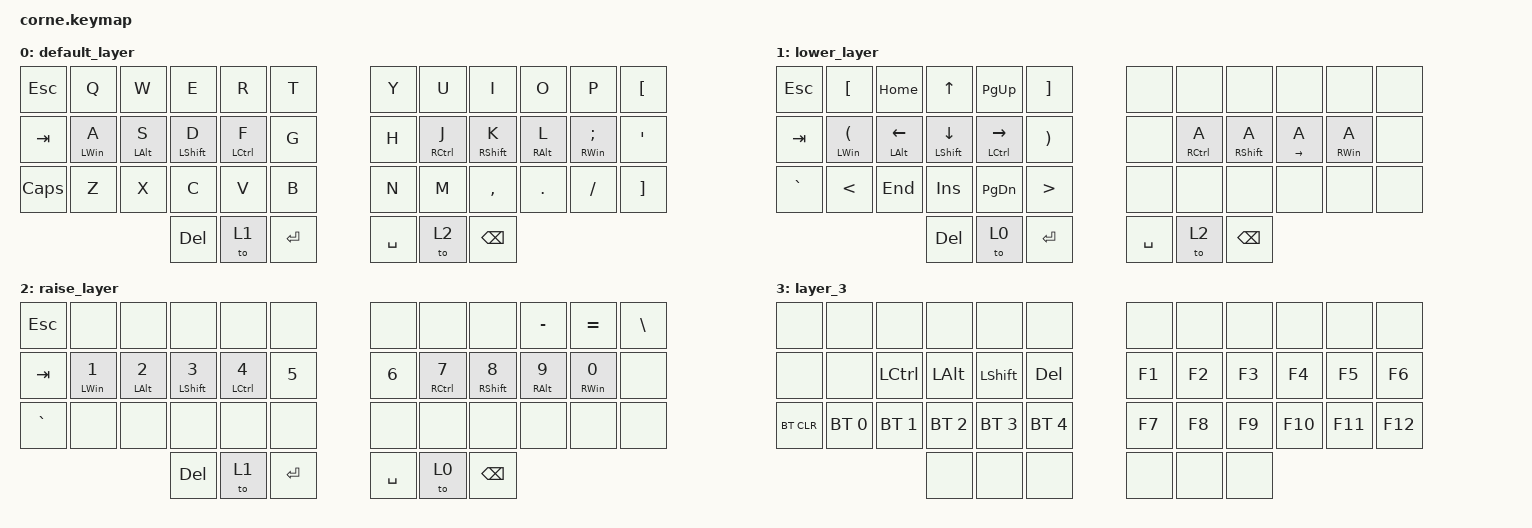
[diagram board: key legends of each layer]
/*
 * Copyright (c) 2020 The ZMK Contributors
 *
 * SPDX-License-Identifier: MIT
 */

#include <behaviors.dtsi>
#include <dt-bindings/zmk/bt.h>
#include <dt-bindings/zmk/keys.h>

/ {
    combos {
        compatible = "zmk,combos";

        toch {
            bindings = <&kp KP_N1>;
            key-positions = <16 19>;
        };

        lay3 {
            bindings = <&to 3>;
            key-positions = <10 11>;
        };

        dot {
            bindings = <&kp KP_N2>;
            key-positions = <15 20>;
        };

        ques {
            bindings = <&kp KP_N3>;
            key-positions = <14 21>;
        };

        altshift {
            bindings = <&kp LA(LEFT_SHIFT)>;
            key-positions = <38 39>;
        };
    };

    behaviors {
        ss_hs_modmorph: ss_hs_modmorph {
            compatible = "zmk,behavior-mod-morph";
            label = "SS_HS_MODMORPH";
            bindings = <&kp M>, <&kp RIGHT_BRACKET>;

            #binding-cells = <0>;
            mods = <(MOD_LSFT|MOD_RSFT)>;
        };

        kh_hs_tapdance: kh_hs_tapdance {
            compatible = "zmk,behavior-tap-dance";
            label = "KH_HS_TAPDANCE";
            #binding-cells = <0>;
            tapping-term-ms = <200>;
            bindings = <&kp LEFT_BRACKET>, <&kp RIGHT_BRACKET>;
        };

        hrm: hrm {
            compatible = "zmk,behavior-hold-tap";
            #binding-cells = <2>;
            flavor = "tap-preferred";
            tapping-term-ms = <280>;
            quick-tap-ms = <200>;
            require-prior-idle-ms = <200>;
            bindings = <&kp>, <&kp>;
        };
    };

    keymap {
        compatible = "zmk,keymap";

        default_layer {
            // -----------------------------------------------------------------------------------------
            // |  TAB |  Q  |  W  |  E  |  R  |  T  |   |  Y  |  U   |  I  |  O  |  P  | BKSP |
            // | CTRL |  A  |  S  |  D  |  F  |  G  |   |  H  |  J   |  K  |  L  |  ;  |  '   |
            // | SHFT |  Z  |  X  |  C  |  V  |  B  |   |  N  |  M   |  ,  |  .  |  /  | ESC  |
            //                    | GUI | LWR | SPC |   | ENT | RSE  | ALT |

            bindings = <
&kp ESC   &kp Q            &kp W            &kp E              &kp R                &kp T        &kp Y      &kp U                 &kp I               &kp O             &kp P                &kp LBKT
&kp TAB   &hrm LEFT_WIN A  &hrm LEFT_ALT S  &hrm LEFT_SHIFT D  &hrm LEFT_CONTROL F  &kp G        &kp H      &hrm RIGHT_CONTROL J  &hrm RIGHT_SHIFT K  &hrm RIGHT_ALT L  &hrm RIGHT_WIN SEMI  &kp SQT
&kp CLCK  &kp Z            &kp X            &kp C              &kp V                &kp B        &kp N      &kp M                 &kp COMMA           &kp DOT           &kp FSLH             &kp RBKT
                                            &kp DEL            &to 1                &kp ENTER    &kp SPACE  &to 2                 &kp BSPC
            >;
        };

        lower_layer {
            // -----------------------------------------------------------------------------------------
            // |  TAB |  1  |  2  |  3  |  4  |  5  |   |  6  |  7  |  8  |  9  |  0  | BKSP |
            // | BTCLR| BT1 | BT2 | BT3 | BT4 | BT5 |   | LFT | DWN |  UP | RGT |     |      |
            // | SHFT |     |     |     |     |     |   |     |     |     |     |     |      |
            //                    | GUI |     | SPC |   | ENT |     | ALT |

            bindings = <
&kp ESC    &kp LBKT                        &kp HOME                  &kp UP_ARROW                &kp PG_UP         &kp RBKT                 &none      &none         &none               &none         &none        &none
&kp TAB    &hrm LEFT_WIN LEFT_PARENTHESIS  &hrm LEFT_ALT LEFT_ARROW  &hrm LEFT_SHIFT DOWN_ARROW  &hrm LCTRL RIGHT  &kp RIGHT_PARENTHESIS    &none      &hrm RCTRL A  &hrm RIGHT_SHIFT A  &hrm RIGHT A  &hrm RWIN A  &none
&kp GRAVE  &kp LESS_THAN                   &kp END                   &kp INS                     &kp PG_DN         &kp GREATER_THAN         &none      &none         &none               &none         &none        &none
                                                                     &kp DEL                     &to 0             &kp ENTER                &kp SPACE  &to 2         &kp BACKSPACE
            >;
        };

        raise_layer {
            // -----------------------------------------------------------------------------------------
            // |  TAB |  !  |  @  |  #  |  $  |  %  |   |  ^  |  &  |  *  |  (  |  )  | BKSP |
            // | CTRL |     |     |     |     |     |   |  -  |  =  |  [  |  ]  |  \  |  `   |
            // | SHFT |     |     |     |     |     |   |  _  |  +  |  {  |  }  | "|" |  ~   |
            //                    | GUI |     | SPC |   | ENT |     | ALT |

            bindings = <
&kp ESCAPE  &none                   &none                   &none                     &none                &none      &none      &none          &none                &kp MINUS          &kp EQUAL          &kp BSLH
&kp TAB     &hrm LEFT_WIN NUMBER_1  &hrm LEFT_ALT NUMBER_2  &hrm LEFT_SHIFT NUMBER_3  &hrm LCTRL NUMBER_4  &kp N5     &kp N6     &hrm RCTRL N7  &hrm RIGHT_SHIFT N8  &hrm RIGHT_ALT N9  &hrm RIGHT_WIN N0  &none
&kp GRAVE   &none                   &none                   &none                     &none                &none      &none      &none          &none                &none              &none              &none
                                                            &kp DEL                   &to 1                &kp RET    &kp SPACE  &to 0          &kp BSPC
            >;
        };

        layer_3 {
            bindings = <
&none       &none         &none         &none         &none         &none           &none   &none   &none   &none    &none    &none
&none       &none         &kp LCTRL     &kp LALT      &kp LSHFT     &kp DEL         &kp F1  &kp F2  &kp F3  &kp F4   &kp F5   &kp F6
&bt BT_CLR  &bt BT_SEL 0  &bt BT_SEL 1  &bt BT_SEL 2  &bt BT_SEL 3  &bt BT_SEL 4    &kp F7  &kp F8  &kp F9  &kp F10  &kp F11  &kp F12
                                        &none         &none         &none           &none   &none   &none
            >;
        };
    };
};
